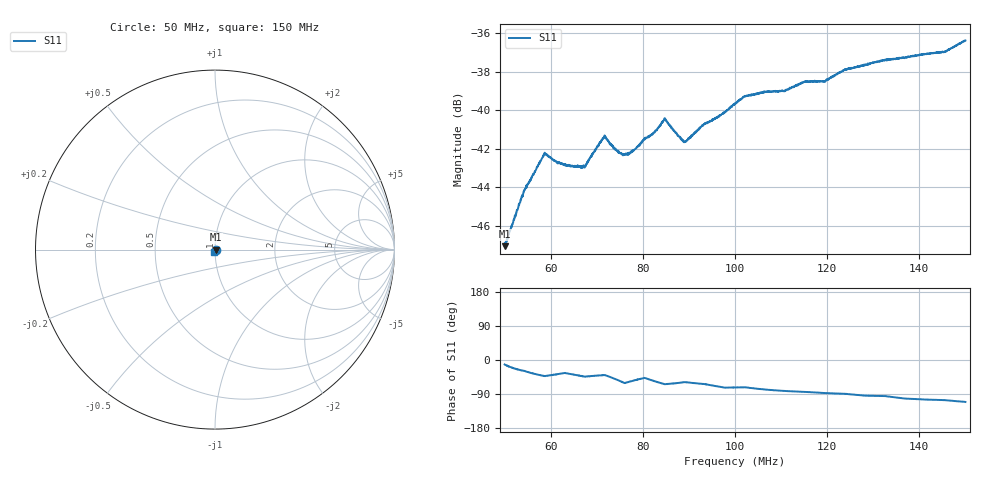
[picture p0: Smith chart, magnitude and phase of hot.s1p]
! COPPER MOUNTAIN TECHNOLOGIES, PLANAR TR1300/1, 00090118, 19.1.1/1.0
! Date: 11/26/2019 3:03:22 PM
! Data: Format [Calibration Info]
! Freq  S11: Re/Im F1
# HZ S RI R 50
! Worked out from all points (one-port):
!   2001 points, 50 MHz to 150 MHz, reference 50 ohm
!   lowest |S11| = -47.0 dB at 50 MHz (marker M1), VSWR 1.01, Z = 50.4 - j0.092 ohm
!   |S11| at or under -10 dB: start of sweep to end of sweep
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5e7  0.00435 -0.000912
5.42e7  0.00539 -0.00297
5.84e7  0.00566 -0.00507
5.905e7  0.00569 -0.00512
6.25e7  0.00592 -0.00423
6.725e7  0.00516 -0.00495
7.165e7  0.00655 -0.00547
7.5e7  0.00442 -0.00635
7.62e7  0.0038 -0.00667
7.775e7  0.00447 -0.0064
8.265e7  0.00493 -0.00735
8.46e7  0.00425 -0.00845
8.515e7  0.00421 -0.00837
8.75e7  0.00421 -0.00751
8.865e7  0.00427 -0.00715
8.935e7  0.00433 -0.00711
9.32e7  0.00415 -0.00818
9.655e7  0.00323 -0.00909
1e8  0.00314 -0.00992
1.025e8  0.00329 -0.0104
1.108e8  0.00157 -0.0111
1.125e8  0.00149 -0.0114
1.1535e8  0.00121 -0.0118
1.195e8  0.000582 -0.0119
1.25e8  -7.92e-05 -0.0128
1.375e8  -0.00287 -0.0135
1.4555e8  -0.0039 -0.0136
1.5e8  -0.00537 -0.0142
